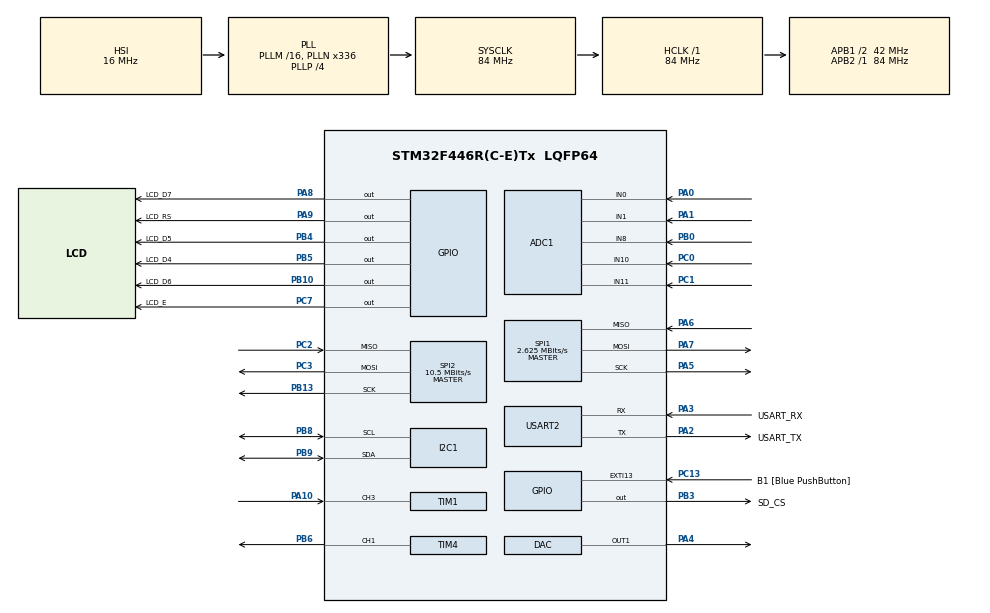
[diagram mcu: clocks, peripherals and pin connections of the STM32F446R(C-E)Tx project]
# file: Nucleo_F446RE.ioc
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ADC1.Channel-1\#ChannelRegularConversion=ADC_CHANNEL_0
ADC1.Channel-2\#ChannelRegularConversion=ADC_CHANNEL_1
ADC1.Channel-3\#ChannelRegularConversion=ADC_CHANNEL_8
ADC1.Channel-4\#ChannelRegularConversion=ADC_CHANNEL_10
ADC1.Channel-5\#ChannelRegularConversion=ADC_CHANNEL_11
ADC1.Channel-6\#ChannelRegularConversion=ADC_CHANNEL_TEMPSENSOR
ADC1.NbrOfConversion=6
ADC1.NbrOfConversionFlag=1
ADC1.Rank-1\#ChannelRegularConversion=1
ADC1.Rank-2\#ChannelRegularConversion=2
ADC1.Rank-3\#ChannelRegularConversion=3
ADC1.Rank-4\#ChannelRegularConversion=4
ADC1.Rank-5\#ChannelRegularConversion=5
ADC1.Rank-6\#ChannelRegularConversion=6
ADC1.SamplingTime-1\#ChannelRegularConversion=ADC_SAMPLETIME_15CYCLES
ADC1.SamplingTime-2\#ChannelRegularConversion=ADC_SAMPLETIME_15CYCLES
ADC1.SamplingTime-3\#ChannelRegularConversion=ADC_SAMPLETIME_15CYCLES
ADC1.SamplingTime-4\#ChannelRegularConversion=ADC_SAMPLETIME_15CYCLES
ADC1.SamplingTime-5\#ChannelRegularConversion=ADC_SAMPLETIME_15CYCLES
ADC1.SamplingTime-6\#ChannelRegularConversion=ADC_SAMPLETIME_56CYCLES
ADC1.master=1
Dma.ADC1.0.Direction=DMA_PERIPH_TO_MEMORY
Dma.ADC1.0.FIFOMode=DMA_FIFOMODE_DISABLE
Dma.ADC1.0.Instance=DMA2_Stream0
Dma.ADC1.0.MemDataAlignment=DMA_MDATAALIGN_HALFWORD
Dma.ADC1.0.MemInc=DMA_MINC_ENABLE
Dma.ADC1.0.Mode=DMA_NORMAL
Dma.ADC1.0.PeriphDataAlignment=DMA_PDATAALIGN_HALFWORD
Dma.ADC1.0.PeriphInc=DMA_PINC_DISABLE
Dma.ADC1.0.Priority=DMA_PRIORITY_LOW
Dma.Request0=ADC1
Dma.Request1=USART2_RX
Dma.USART2_RX.1.Direction=DMA_PERIPH_TO_MEMORY
Dma.USART2_RX.1.FIFOMode=DMA_FIFOMODE_DISABLE
Dma.USART2_RX.1.Instance=DMA1_Stream5
Dma.USART2_RX.1.MemDataAlignment=DMA_MDATAALIGN_BYTE
Dma.USART2_RX.1.MemInc=DMA_MINC_ENABLE
Dma.USART2_RX.1.Mode=DMA_NORMAL
Dma.USART2_RX.1.PeriphDataAlignment=DMA_PDATAALIGN_BYTE
Dma.USART2_RX.1.PeriphInc=DMA_PINC_DISABLE
Dma.USART2_RX.1.Priority=DMA_PRIORITY_LOW
FREERTOS.Events01=EventComTask,Static,myEvent01ControlBlock
FREERTOS.Tasks01=Task10ms,24,128,StartTask10ms,Default,NULL,Static,Task10msBuffer,Task10msControlBlock;ComTask,8,128,StartComTask,Default,NULL,Static,ComTaskBuffer,ComTaskControlBlock;Task1sec,24,128,StartTask1sec,Default,NULL,Static,Task1secBuffer,Task1secControlBlock
Mcu.Family=STM32F4
Mcu.Name=STM32F446R(C-E)Tx
Mcu.Package=LQFP64
Mcu.UserConstants=LCD_DISP_LENGTH,16;LCD_LINES,2;VCP_EVENT_FLAG_MASK,0x00000001uL
NVIC.DMA1_Stream5_IRQn=true\:5\:0\:false\:false\:true\:true\:false\:true\:true
NVIC.DMA2_Stream0_IRQn=true\:5\:0\:false\:false\:true\:true\:false\:true\:true
NVIC.PriorityGroup=NVIC_PRIORITYGROUP_4
NVIC.TIM6_DAC_IRQn=true\:15\:0\:false\:false\:true\:false\:false\:true\:true
NVIC.TimeBase=TIM6_DAC_IRQn
NVIC.TimeBaseIP=TIM6
PA0-WKUP.Signal=ADCx_IN0
PA1.Signal=ADCx_IN1
PA10.Signal=S_TIM1_CH3
PA13.GPIO_Label=TMS
PA13.Mode=Serial_Wire
PA13.Signal=SYS_JTMS-SWDIO
PA14.GPIO_Label=TCK
PA14.Mode=Serial_Wire
PA14.Signal=SYS_JTCK-SWCLK
PA2.GPIO_Label=USART_TX
PA2.Mode=Asynchronous
PA2.Signal=USART2_TX
PA3.GPIO_Label=USART_RX
PA3.Mode=Asynchronous
PA3.Signal=USART2_RX
PA4.Signal=COMP_DAC1_group
PA5.Mode=Full_Duplex_Master
PA5.Signal=SPI1_SCK
PA6.Mode=Full_Duplex_Master
PA6.Signal=SPI1_MISO
PA7.Mode=Full_Duplex_Master
PA7.Signal=SPI1_MOSI
PA8.GPIO_Label=LCD_D7
PA8.Signal=GPIO_Output
PA9.GPIO_Label=LCD_RS
PA9.Signal=GPIO_Output
PB0.Signal=ADCx_IN8
PB10.GPIO_Label=LCD_D6
PB10.Signal=GPIO_Output
PB13.Mode=Full_Duplex_Master
PB13.Signal=SPI2_SCK
PB3.GPIO_Label=SD_CS
PB3.Signal=GPIO_Output
PB4.GPIO_Label=LCD_D5
PB4.Signal=GPIO_Output
PB5.GPIO_Label=LCD_D4
PB5.Signal=GPIO_Output
PB6.Signal=S_TIM4_CH1
PB8.Mode=I2C
PB8.Signal=I2C1_SCL
PB9.Mode=I2C
PB9.Signal=I2C1_SDA
PC0.Signal=ADCx_IN10
PC1.Signal=ADCx_IN11
PC13.GPIO_Label=B1 [Blue PushButton]
PC13.GPIO_ModeDefaultEXTI=GPIO_MODE_IT_FALLING
PC13.Signal=GPXTI13
PC14-OSC32_IN.Mode=LSE-External-Oscillator
PC14-OSC32_IN.Signal=RCC_OSC32_IN
PC15-OSC32_OUT.Mode=LSE-External-Oscillator
PC15-OSC32_OUT.Signal=RCC_OSC32_OUT
PC2.Mode=Full_Duplex_Master
PC2.Signal=SPI2_MISO
PC3.Mode=Full_Duplex_Master
PC3.Signal=SPI2_MOSI
PC7.GPIO_Label=LCD_E
PC7.Signal=GPIO_Output
PH0-OSC_IN.Mode=HSE-External-Oscillator
PH0-OSC_IN.Signal=RCC_OSC_IN
PH1-OSC_OUT.Mode=HSE-External-Oscillator
PH1-OSC_OUT.Signal=RCC_OSC_OUT
ProjectManager.HeapSize=0x200
ProjectManager.StackSize=0x400
ProjectManager.TargetToolchain=CMake
RCC.48MHZClocksFreq_Value=84000000
RCC.AHBFreq_Value=84000000
RCC.APB1CLKDivider=RCC_HCLK_DIV2
RCC.APB1Freq_Value=42000000
RCC.APB1TimFreq_Value=84000000
RCC.APB2Freq_Value=84000000
RCC.APB2TimFreq_Value=84000000
RCC.CortexFreq_Value=84000000
RCC.FLatency-AdvancedSettings=FLASH_LATENCY_2
RCC.HCLKFreq_Value=84000000
RCC.HSE_VALUE=8000000
RCC.HSI_VALUE=16000000
RCC.PLLN=336
RCC.PLLP=RCC_PLLP_DIV4
RCC.SYSCLKFreq_VALUE=84000000
RCC.SYSCLKSource=RCC_SYSCLKSOURCE_PLLCLK
RCC.USBFreq_Value=168000000
RCC.VCOOutputFreq_Value=336000000
SH.ADCx_IN0.0=ADC1_IN0,IN0
SH.ADCx_IN1.0=ADC1_IN1,IN1
SH.ADCx_IN10.0=ADC1_IN10,IN10
SH.ADCx_IN11.0=ADC1_IN11,IN11
SH.ADCx_IN8.0=ADC1_IN8,IN8
SH.COMP_DAC1_group.0=DAC_OUT1,DAC_OUT1
SH.S_TIM1_CH3.0=TIM1_CH3,Input_Capture3_from_TI3
SH.S_TIM4_CH1.0=TIM4_CH1,PWM Generation1 CH1
SPI1.BaudRatePrescaler=SPI_BAUDRATEPRESCALER_32
SPI1.CalculateBaudRate=2.625 MBits/s
SPI1.Direction=SPI_DIRECTION_2LINES
SPI1.Mode=SPI_MODE_MASTER
SPI1.VirtualType=VM_MASTER
SPI2.BaudRatePrescaler=SPI_BAUDRATEPRESCALER_4
SPI2.CalculateBaudRate=10.5 MBits/s
SPI2.Direction=SPI_DIRECTION_2LINES
SPI2.Mode=SPI_MODE_MASTER
SPI2.VirtualType=VM_MASTER
TIM1.Channel-Input_Capture3_from_TI3=TIM_CHANNEL_3
TIM4.Channel-PWM\ Generation1\ CH1=TIM_CHANNEL_1
USART2.VirtualMode=VM_ASYNC
VP_ADC1_TempSens_Input.Mode=IN-TempSens
VP_FREERTOS_VS_CMSIS_V2.Mode=CMSIS_V2
VP_SYS_VS_tim6.Mode=TIM6
board=NUCLEO-F446RE

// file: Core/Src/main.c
/* USER CODE BEGIN Header */
/**
  ******************************************************************************
  * @file           : main.c
  * @brief          : Main program body
  ******************************************************************************
  * @attention
  *
  * Copyright (c) 2025 STMicroelectronics.
  * All rights reserved.
  *
  * This software is licensed under terms that can be found in the LICENSE file
  * in the root directory of this software component.
  * If no LICENSE file comes with this software, it is provided AS-IS.
  *
  ******************************************************************************
  */
/* USER CODE END Header */
#include "main.h"
#include "cmsis_os.h"

/* USER CODE BEGIN Includes */
#include "lcd_char.h"
#include "ds1307.h"
#include "pc_uart_handler.h"
#include "flash.h"
/* USER CODE END Includes */

typedef StaticTask_t osStaticThreadDef_t;
typedef StaticEventGroup_t osStaticEventGroupDef_t;

/* USER CODE BEGIN PM */
#define VCOM_UART_DMA_BUFFER_SIZE 256u
/* USER CODE END PM */

ADC_HandleTypeDef hadc1;
DMA_HandleTypeDef hdma_adc1;

DAC_HandleTypeDef hdac;

I2C_HandleTypeDef hi2c1;

SPI_HandleTypeDef hspi1;
SPI_HandleTypeDef hspi2;

TIM_HandleTypeDef htim1;
TIM_HandleTypeDef htim4;

UART_HandleTypeDef huart2;
DMA_HandleTypeDef hdma_usart2_rx;

/* Definitions for Task10ms */
osThreadId_t Task10msHandle;
uint32_t Task10msBuffer[ 128 ];
osStaticThreadDef_t Task10msControlBlock;
const osThreadAttr_t Task10ms_attributes = {
  .name = "Task10ms",
  .cb_mem = &Task10msControlBlock,
  .cb_size = sizeof(Task10msControlBlock),
  .stack_mem = &Task10msBuffer[0],
  .stack_size = sizeof(Task10msBuffer),
  .priority = (osPriority_t) osPriorityNormal,
};
/* Definitions for ComTask */
osThreadId_t ComTaskHandle;
uint32_t ComTaskBuffer[ 128 ];
osStaticThreadDef_t ComTaskControlBlock;
const osThreadAttr_t ComTask_attributes = {
  .name = "ComTask",
  .cb_mem = &ComTaskControlBlock,
  .cb_size = sizeof(ComTaskControlBlock),
  .stack_mem = &ComTaskBuffer[0],
  .stack_size = sizeof(ComTaskBuffer),
  .priority = (osPriority_t) osPriorityLow,
};
/* Definitions for Task1sec */
osThreadId_t Task1secHandle;
uint32_t Task1secBuffer[ 128 ];
osStaticThreadDef_t Task1secControlBlock;
const osThreadAttr_t Task1sec_attributes = {
  .name = "Task1sec",
  .cb_mem = &Task1secControlBlock,
  .cb_size = sizeof(Task1secControlBlock),
  .stack_mem = &Task1secBuffer[0],
  .stack_size = sizeof(Task1secBuffer),
  .priority = (osPriority_t) osPriorityNormal,
};
/* Definitions for EventComTask */
osEventFlagsId_t EventComTaskHandle;
osStaticEventGroupDef_t myEvent01ControlBlock;
const osEventFlagsAttr_t EventComTask_attributes = {
  .name = "EventComTask",
  .cb_mem = &myEvent01ControlBlock,
  .cb_size = sizeof(myEvent01ControlBlock),
};
/* USER CODE BEGIN PV */
volatile uint16_t ADC_RawData[6u] = {0u};
float ADC_Voltage[6u];

char VComDmaBuffer[VCOM_UART_DMA_BUFFER_SIZE];

uint8_t Uart2RxByte;
uint8_t UART_PcRxBuffer[256u];
uint8_t UART_PcRxPktLength = 0u;
uint8_t UART_PcTxBuffer[256u];

uint32_t TIM1_PwmDutyCycle = 0u;

DS1307_Handler_t  DS1307_Handle = { .ptrHI2c = &hi2c1, .Address = 0xD0u };
DS1307_TimeDate_t DS1307_InitDateTime = { .Seconds = 0u, .Minutes = 0x37u, .Hours = 0x09u, .Day = 6u, .Date = 4u, .Month = 3u, .Year = 0x23u };
DS1307_TimeDate_t DS1307_DateTime;

FLASH_Handler_t FlashHandler =
{
  .ptrHSpi = &hspi1,
  .portCS  = NULL, //CS_FLASH_GPIO_Port,
  .pinCS   = 0     //CS_FLASH_Pin
};

/* USER CODE END PV */

void SystemClock_Config(void);
static void MX_GPIO_Init(void);
static void MX_DMA_Init(void);
static void MX_USART2_UART_Init(void);
static void MX_DAC_Init(void);
static void MX_ADC1_Init(void);
static void MX_I2C1_Init(void);
static void MX_TIM4_Init(void);
static void MX_SPI1_Init(void);
static void MX_SPI2_Init(void);
static void MX_TIM1_Init(void);
void StartTask10ms(void *argument);
void StartComTask(void *argument);
void StartTask1sec(void *argument);

/* USER CODE BEGIN PFP */
void HAL_UARTEx_RxEventCallback(UART_HandleTypeDef *huart, uint16_t Size)
{
  if (huart->Instance == USART2)
  {
    /* start the DMA again */
    HAL_UARTEx_ReceiveToIdle_DMA(&huart2, (uint8_t *) UART_PcRxBuffer, 256u);
    __HAL_DMA_DISABLE_IT(&hdma_usart2_rx, DMA_IT_HT);

    osEventFlagsSet(EventComTaskHandle, VCP_EVENT_FLAG_MASK);
  }
}
/* USER CODE END PFP */

int main(void)
{

  /* MCU Configuration--------------------------------------------------------*/

  /* Reset of all peripherals, Initializes the Flash interface and the Systick. */
  HAL_Init();

  /* Configure the system clock */
  SystemClock_Config();

  /* Initialize all configured peripherals */
  MX_GPIO_Init();
  MX_DMA_Init();
  MX_USART2_UART_Init();
  MX_DAC_Init();
  MX_ADC1_Init();
  MX_I2C1_Init();
  MX_TIM4_Init();
  MX_SPI1_Init();
  MX_SPI2_Init();
  MX_TIM1_Init();
  /* USER CODE BEGIN 2 */
  LcdInit_GPIO(LCD_DISP_ON_CURSOR_BLINK);
  LcdPuts("Hello_Nucleo446", 1, 0);
  LcdPuts("Masodik sor", 2, 0);
  /* USER CODE END 2 */

  /* Init scheduler */
  osKernelInitialize();

  /* Create the thread(s) */
  /* creation of Task10ms */
  Task10msHandle = osThreadNew(StartTask10ms, NULL, &Task10ms_attributes);

  /* creation of ComTask */
  ComTaskHandle = osThreadNew(StartComTask, NULL, &ComTask_attributes);

  /* creation of Task1sec */
  Task1secHandle = osThreadNew(StartTask1sec, NULL, &Task1sec_attributes);

  /* Create the event(s) */
  /* creation of EventComTask */
  EventComTaskHandle = osEventFlagsNew(&EventComTask_attributes);

  /* Start scheduler */
  osKernelStart();

  /* We should never get here as control is now taken by the scheduler */

  /* Infinite loop */
  while (1)
  {

  }
}

void SystemClock_Config(void)
{
  RCC_OscInitTypeDef RCC_OscInitStruct = {0};
  RCC_ClkInitTypeDef RCC_ClkInitStruct = {0};

  /** Configure the main internal regulator output voltage
  */
  __HAL_RCC_PWR_CLK_ENABLE();
  __HAL_PWR_VOLTAGESCALING_CONFIG(PWR_REGULATOR_VOLTAGE_SCALE3);

  /** Initializes the RCC Oscillators according to the specified parameters
  * in the RCC_OscInitTypeDef structure.
  */
  RCC_OscInitStruct.OscillatorType = RCC_OSCILLATORTYPE_HSI;
  RCC_OscInitStruct.HSIState = RCC_HSI_ON;
  RCC_OscInitStruct.HSICalibrationValue = RCC_HSICALIBRATION_DEFAULT;
  RCC_OscInitStruct.PLL.PLLState = RCC_PLL_ON;
  RCC_OscInitStruct.PLL.PLLSource = RCC_PLLSOURCE_HSI;
  RCC_OscInitStruct.PLL.PLLM = 16;
  RCC_OscInitStruct.PLL.PLLN = 336;
  RCC_OscInitStruct.PLL.PLLP = RCC_PLLP_DIV4;
  RCC_OscInitStruct.PLL.PLLQ = 2;
  RCC_OscInitStruct.PLL.PLLR = 2;
  if (HAL_RCC_OscConfig(&RCC_OscInitStruct) != HAL_OK)
  {
    Error_Handler();
  }

  /** Initializes the CPU, AHB and APB buses clocks
  */
  RCC_ClkInitStruct.ClockType = RCC_CLOCKTYPE_HCLK|RCC_CLOCKTYPE_SYSCLK
                              |RCC_CLOCKTYPE_PCLK1|RCC_CLOCKTYPE_PCLK2;
  RCC_ClkInitStruct.SYSCLKSource = RCC_SYSCLKSOURCE_PLLCLK;
  RCC_ClkInitStruct.AHBCLKDivider = RCC_SYSCLK_DIV1;
  RCC_ClkInitStruct.APB1CLKDivider = RCC_HCLK_DIV2;
  RCC_ClkInitStruct.APB2CLKDivider = RCC_HCLK_DIV1;

  if (HAL_RCC_ClockConfig(&RCC_ClkInitStruct, FLASH_LATENCY_2) != HAL_OK)
  {
    Error_Handler();
  }
}

static void MX_ADC1_Init(void)
{

  ADC_ChannelConfTypeDef sConfig = {0};

  /** Configure the global features of the ADC (Clock, Resolution, Data Alignment and number of conversion)
  */
  hadc1.Instance = ADC1;
  hadc1.Init.ClockPrescaler = ADC_CLOCK_SYNC_PCLK_DIV4;
  hadc1.Init.Resolution = ADC_RESOLUTION_12B;
  hadc1.Init.ScanConvMode = ENABLE;
  hadc1.Init.ContinuousConvMode = DISABLE;
  hadc1.Init.DiscontinuousConvMode = DISABLE;
  hadc1.Init.ExternalTrigConvEdge = ADC_EXTERNALTRIGCONVEDGE_NONE;
  hadc1.Init.ExternalTrigConv = ADC_SOFTWARE_START;
  hadc1.Init.DataAlign = ADC_DATAALIGN_RIGHT;
  hadc1.Init.NbrOfConversion = 6;
  hadc1.Init.DMAContinuousRequests = DISABLE;
  hadc1.Init.EOCSelection = ADC_EOC_SINGLE_CONV;
  if (HAL_ADC_Init(&hadc1) != HAL_OK)
  {
    Error_Handler();
  }

  /** Configure for the selected ADC regular channel its corresponding rank in the sequencer and its sample time.
  */
  sConfig.Channel = ADC_CHANNEL_0;
  sConfig.Rank = 1;
  sConfig.SamplingTime = ADC_SAMPLETIME_15CYCLES;
  if (HAL_ADC_ConfigChannel(&hadc1, &sConfig) != HAL_OK)
  {
    Error_Handler();
  }

  /** Configure for the selected ADC regular channel its corresponding rank in the sequencer and its sample time.
  */
  sConfig.Channel = ADC_CHANNEL_1;
  sConfig.Rank = 2;
  if (HAL_ADC_ConfigChannel(&hadc1, &sConfig) != HAL_OK)
  {
    Error_Handler();
  }

  /** Configure for the selected ADC regular channel its corresponding rank in the sequencer and its sample time.
  */
  sConfig.Channel = ADC_CHANNEL_8;
  sConfig.Rank = 3;
  if (HAL_ADC_ConfigChannel(&hadc1, &sConfig) != HAL_OK)
  {
    Error_Handler();
  }

  /** Configure for the selected ADC regular channel its corresponding rank in the sequencer and its sample time.
  */
  sConfig.Channel = ADC_CHANNEL_10;
  sConfig.Rank = 4;
  if (HAL_ADC_ConfigChannel(&hadc1, &sConfig) != HAL_OK)
  {
    Error_Handler();
  }

  /** Configure for the selected ADC regular channel its corresponding rank in the sequencer and its sample time.
  */
  sConfig.Channel = ADC_CHANNEL_11;
  sConfig.Rank = 5;
  if (HAL_ADC_ConfigChannel(&hadc1, &sConfig) != HAL_OK)
  {
    Error_Handler();
  }

  /** Configure for the selected ADC regular channel its corresponding rank in the sequencer and its sample time.
  */
  sConfig.Channel = ADC_CHANNEL_TEMPSENSOR;
  sConfig.Rank = 6;
  sConfig.SamplingTime = ADC_SAMPLETIME_56CYCLES;
  if (HAL_ADC_ConfigChannel(&hadc1, &sConfig) != HAL_OK)
  {
    Error_Handler();
  }

}

static void MX_DAC_Init(void)
{

  DAC_ChannelConfTypeDef sConfig = {0};

  /** DAC Initialization
  */
  hdac.Instance = DAC;
  if (HAL_DAC_Init(&hdac) != HAL_OK)
  {
    Error_Handler();
  }

  /** DAC channel OUT1 config
  */
  sConfig.DAC_Trigger = DAC_TRIGGER_NONE;
  sConfig.DAC_OutputBuffer = DAC_OUTPUTBUFFER_ENABLE;
  if (HAL_DAC_ConfigChannel(&hdac, &sConfig, DAC_CHANNEL_1) != HAL_OK)
  {
    Error_Handler();
  }

}

static void MX_I2C1_Init(void)
{

  hi2c1.Instance = I2C1;
  hi2c1.Init.ClockSpeed = 100000;
  hi2c1.Init.DutyCycle = I2C_DUTYCYCLE_2;
  hi2c1.Init.OwnAddress1 = 0;
  hi2c1.Init.AddressingMode = I2C_ADDRESSINGMODE_7BIT;
  hi2c1.Init.DualAddressMode = I2C_DUALADDRESS_DISABLE;
  hi2c1.Init.OwnAddress2 = 0;
  hi2c1.Init.GeneralCallMode = I2C_GENERALCALL_DISABLE;
  hi2c1.Init.NoStretchMode = I2C_NOSTRETCH_DISABLE;
  if (HAL_I2C_Init(&hi2c1) != HAL_OK)
  {
    Error_Handler();
  }

}

static void MX_SPI1_Init(void)
{

  /* SPI1 parameter configuration*/
  hspi1.Instance = SPI1;
  hspi1.Init.Mode = SPI_MODE_MASTER;
  hspi1.Init.Direction = SPI_DIRECTION_2LINES;
  hspi1.Init.DataSize = SPI_DATASIZE_8BIT;
  hspi1.Init.CLKPolarity = SPI_POLARITY_LOW;
  hspi1.Init.CLKPhase = SPI_PHASE_1EDGE;
  hspi1.Init.NSS = SPI_NSS_SOFT;
  hspi1.Init.BaudRatePrescaler = SPI_BAUDRATEPRESCALER_32;
  hspi1.Init.FirstBit = SPI_FIRSTBIT_MSB;
  hspi1.Init.TIMode = SPI_TIMODE_DISABLE;
  hspi1.Init.CRCCalculation = SPI_CRCCALCULATION_DISABLE;
  hspi1.Init.CRCPolynomial = 10;
  if (HAL_SPI_Init(&hspi1) != HAL_OK)
  {
    Error_Handler();
  }

}

static void MX_SPI2_Init(void)
{

  /* SPI2 parameter configuration*/
  hspi2.Instance = SPI2;
  hspi2.Init.Mode = SPI_MODE_MASTER;
  hspi2.Init.Direction = SPI_DIRECTION_2LINES;
  hspi2.Init.DataSize = SPI_DATASIZE_8BIT;
  hspi2.Init.CLKPolarity = SPI_POLARITY_LOW;
  hspi2.Init.CLKPhase = SPI_PHASE_1EDGE;
  hspi2.Init.NSS = SPI_NSS_SOFT;
  hspi2.Init.BaudRatePrescaler = SPI_BAUDRATEPRESCALER_4;
  hspi2.Init.FirstBit = SPI_FIRSTBIT_MSB;
  hspi2.Init.TIMode = SPI_TIMODE_DISABLE;
  hspi2.Init.CRCCalculation = SPI_CRCCALCULATION_DISABLE;
  hspi2.Init.CRCPolynomial = 10;
  if (HAL_SPI_Init(&hspi2) != HAL_OK)
  {
    Error_Handler();
  }

}

static void MX_TIM1_Init(void)
{

  TIM_MasterConfigTypeDef sMasterConfig = {0};
  TIM_IC_InitTypeDef sConfigIC = {0};

  htim1.Instance = TIM1;
  htim1.Init.Prescaler = 0;
  htim1.Init.CounterMode = TIM_COUNTERMODE_UP;
  htim1.Init.Period = 65535;
  htim1.Init.ClockDivision = TIM_CLOCKDIVISION_DIV1;
  htim1.Init.RepetitionCounter = 0;
  htim1.Init.AutoReloadPreload = TIM_AUTORELOAD_PRELOAD_DISABLE;
  if (HAL_TIM_IC_Init(&htim1) != HAL_OK)
  {
    Error_Handler();
  }
  sMasterConfig.MasterOutputTrigger = TIM_TRGO_RESET;
  sMasterConfig.MasterSlaveMode = TIM_MASTERSLAVEMODE_DISABLE;
  if (HAL_TIMEx_MasterConfigSynchronization(&htim1, &sMasterConfig) != HAL_OK)
  {
    Error_Handler();
  }
  sConfigIC.ICPolarity = TIM_INPUTCHANNELPOLARITY_RISING;
  sConfigIC.ICSelection = TIM_ICSELECTION_DIRECTTI;
  sConfigIC.ICPrescaler = TIM_ICPSC_DIV1;
  sConfigIC.ICFilter = 0;
  if (HAL_TIM_IC_ConfigChannel(&htim1, &sConfigIC, TIM_CHANNEL_3) != HAL_OK)
  {
    Error_Handler();
  }

}

static void MX_TIM4_Init(void)
{

  TIM_MasterConfigTypeDef sMasterConfig = {0};
  TIM_OC_InitTypeDef sConfigOC = {0};

  htim4.Instance = TIM4;
  htim4.Init.Prescaler = 0;
  htim4.Init.CounterMode = TIM_COUNTERMODE_UP;
  htim4.Init.Period = 65535;
  htim4.Init.ClockDivision = TIM_CLOCKDIVISION_DIV1;
  htim4.Init.AutoReloadPreload = TIM_AUTORELOAD_PRELOAD_DISABLE;
  if (HAL_TIM_PWM_Init(&htim4) != HAL_OK)
  {
    Error_Handler();
  }
  sMasterConfig.MasterOutputTrigger = TIM_TRGO_RESET;
  sMasterConfig.MasterSlaveMode = TIM_MASTERSLAVEMODE_DISABLE;
  if (HAL_TIMEx_MasterConfigSynchronization(&htim4, &sMasterConfig) != HAL_OK)
  {
    Error_Handler();
  }
  sConfigOC.OCMode = TIM_OCMODE_PWM1;
  sConfigOC.Pulse = 0;
  sConfigOC.OCPolarity = TIM_OCPOLARITY_HIGH;
  sConfigOC.OCFastMode = TIM_OCFAST_DISABLE;
  if (HAL_TIM_PWM_ConfigChannel(&htim4, &sConfigOC, TIM_CHANNEL_1) != HAL_OK)
  {
    Error_Handler();
  }
  HAL_TIM_MspPostInit(&htim4);

}

static void MX_USART2_UART_Init(void)
{

  huart2.Instance = USART2;
  huart2.Init.BaudRate = 115200;
  huart2.Init.WordLength = UART_WORDLENGTH_8B;
  huart2.Init.StopBits = UART_STOPBITS_1;
  huart2.Init.Parity = UART_PARITY_NONE;
  huart2.Init.Mode = UART_MODE_TX_RX;
  huart2.Init.HwFlowCtl = UART_HWCONTROL_NONE;
  huart2.Init.OverSampling = UART_OVERSAMPLING_16;
  if (HAL_UART_Init(&huart2) != HAL_OK)
  {
    Error_Handler();
  }

}

static void MX_DMA_Init(void)
{

  /* DMA controller clock enable */
  __HAL_RCC_DMA2_CLK_ENABLE();
  __HAL_RCC_DMA1_CLK_ENABLE();

  /* DMA interrupt init */
  /* DMA1_Stream5_IRQn interrupt configuration */
  HAL_NVIC_SetPriority(DMA1_Stream5_IRQn, 5, 0);
  HAL_NVIC_EnableIRQ(DMA1_Stream5_IRQn);
  /* DMA2_Stream0_IRQn interrupt configuration */
  HAL_NVIC_SetPriority(DMA2_Stream0_IRQn, 5, 0);
  HAL_NVIC_EnableIRQ(DMA2_Stream0_IRQn);

}

static void MX_GPIO_Init(void)
{
  GPIO_InitTypeDef GPIO_InitStruct = {0};

  /* GPIO Ports Clock Enable */
  __HAL_RCC_GPIOC_CLK_ENABLE();
  __HAL_RCC_GPIOH_CLK_ENABLE();
  __HAL_RCC_GPIOA_CLK_ENABLE();
  __HAL_RCC_GPIOB_CLK_ENABLE();

  /*Configure GPIO pin Output Level */
  HAL_GPIO_WritePin(GPIOB, LCD_D6_Pin|SD_CS_Pin|LCD_D5_Pin|LCD_D4_Pin, GPIO_PIN_RESET);

  /*Configure GPIO pin Output Level */
  HAL_GPIO_WritePin(LCD_E_GPIO_Port, LCD_E_Pin, GPIO_PIN_RESET);

  /*Configure GPIO pin Output Level */
  HAL_GPIO_WritePin(GPIOA, LCD_D7_Pin|LCD_RS_Pin, GPIO_PIN_RESET);

  /*Configure GPIO pin : B1_Pin */
  GPIO_InitStruct.Pin = B1_Pin;
  GPIO_InitStruct.Mode = GPIO_MODE_IT_FALLING;
  GPIO_InitStruct.Pull = GPIO_NOPULL;
  HAL_GPIO_Init(B1_GPIO_Port, &GPIO_InitStruct);

  /*Configure GPIO pins : LCD_D6_Pin SD_CS_Pin LCD_D5_Pin LCD_D4_Pin */
  GPIO_InitStruct.Pin = LCD_D6_Pin|SD_CS_Pin|LCD_D5_Pin|LCD_D4_Pin;
  GPIO_InitStruct.Mode = GPIO_MODE_OUTPUT_PP;
  GPIO_InitStruct.Pull = GPIO_NOPULL;
  GPIO_InitStruct.Speed = GPIO_SPEED_FREQ_LOW;
  HAL_GPIO_Init(GPIOB, &GPIO_InitStruct);

  /*Configure GPIO pin : LCD_E_Pin */
  GPIO_InitStruct.Pin = LCD_E_Pin;
  GPIO_InitStruct.Mode = GPIO_MODE_OUTPUT_PP;
  GPIO_InitStruct.Pull = GPIO_NOPULL;
  GPIO_InitStruct.Speed = GPIO_SPEED_FREQ_LOW;
  HAL_GPIO_Init(LCD_E_GPIO_Port, &GPIO_InitStruct);

  /*Configure GPIO pins : LCD_D7_Pin LCD_RS_Pin */
  GPIO_InitStruct.Pin = LCD_D7_Pin|LCD_RS_Pin;
  GPIO_InitStruct.Mode = GPIO_MODE_OUTPUT_PP;
  GPIO_InitStruct.Pull = GPIO_NOPULL;
  GPIO_InitStruct.Speed = GPIO_SPEED_FREQ_LOW;
  HAL_GPIO_Init(GPIOA, &GPIO_InitStruct);

}

void StartTask10ms(void *argument)
{
  /* USER CODE BEGIN 5 */
  /* Infinite loop */
  for(;;)
  {
    // Convert ADC raw data from last running
    for( uint16_t i = 0u; i < 5u; i++ )
    {
      ADC_Voltage[i] = (float)ADC_RawData[i] * 3.3f / 4096.0f;
    }
    HAL_ADC_Start_DMA(&hadc1, (uint32_t*)&ADC_RawData[0u], 5u);
    osDelay(100);
  }
  /* USER CODE END 5 */
}

void StartComTask(void *argument)
{
  /* USER CODE BEGIN StartComTask */
  uint16_t pcUartTxSize = 0u;
  /* Infinite loop */
  for(;;)
  {
    uint32_t eventFlags = osEventFlagsWait(EventComTaskHandle, VCP_EVENT_FLAG_MASK, osFlagsWaitAny, osWaitForever);
    if( eventFlags |= VCP_EVENT_FLAG_MASK)
    {
      // Process the incoming frame from PC
      osEventFlagsClear(EventComTaskHandle, VCP_EVENT_FLAG_MASK);
      pcUartTxSize = PCUART_ProcessRxCmd(UART_PcRxBuffer, UART_PcTxBuffer);
      HAL_UART_Transmit(&huart2, UART_PcTxBuffer, pcUartTxSize, 500);
    }
    osDelay(1);
  }
  /* USER CODE END StartComTask */
}

void StartTask1sec(void *argument)
{
  for(;;)
  {
    osDelay(1);
  }
}

void HAL_TIM_PeriodElapsedCallback(TIM_HandleTypeDef *htim)
{
  if (htim->Instance == TIM6)
  {
    HAL_IncTick();
  }
}

void Error_Handler(void)
{
  __disable_irq();
  while (1)
  {
  }
}
